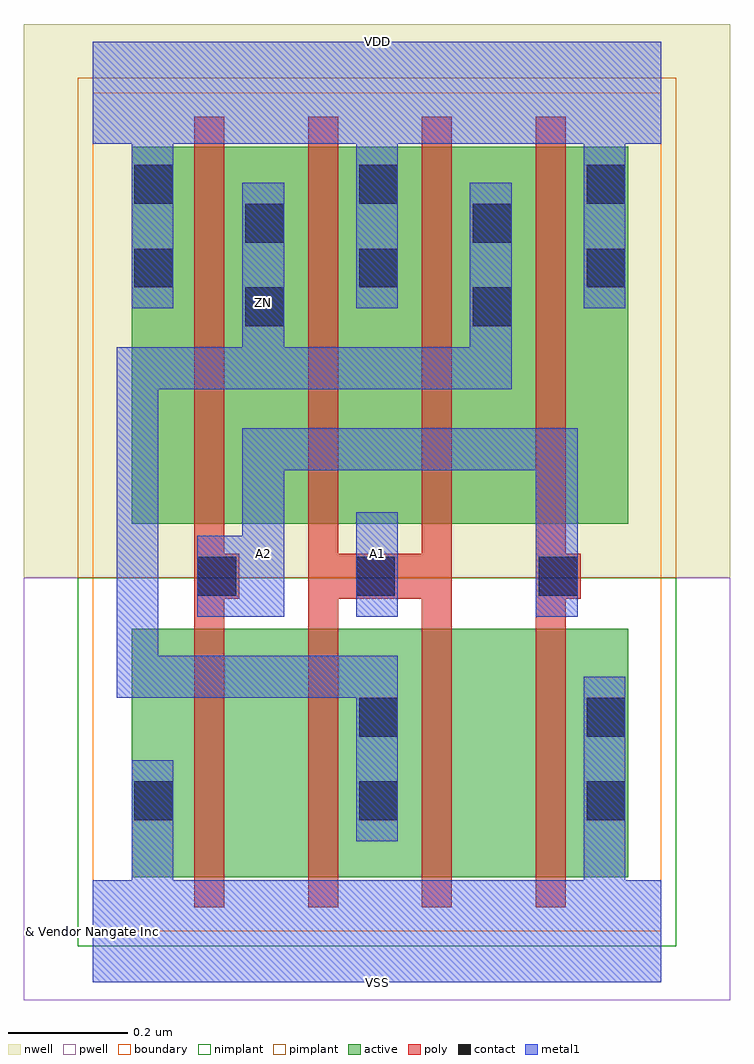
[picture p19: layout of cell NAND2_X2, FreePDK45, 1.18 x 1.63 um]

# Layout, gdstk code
import gdstk
lib = gdstk.Library(unit=1e-6, precision=1e-10)
def R(c, l, rs):  # rectangles x0, y0, x1, y1
    for r in rs: c.add(gdstk.rectangle(r[:2], r[2:], *l))
def P(c, l, *ps):  # polygons
    for p in ps: c.add(gdstk.Polygon(p, *l))
active = (1, 0)
pwell = (2, 0)
nwell = (3, 0)
nimplant = (4, 0)
pimplant = (5, 0)
poly = (9, 0)
contact = (10, 0)
metal1 = (11, 0)
boundary = (235, 0)

nand2_x2 = lib.new_cell('NAND2_X2')
R(nand2_x2, active, [(0.065,0.09,0.895,0.505), (0.065,0.68,0.895,1.31)])
R(nand2_x2, pwell, [(-0.115,-0.115,1.065,0.59)])
R(nand2_x2, nwell, [(-0.115,0.59,1.065,1.515)])
R(nand2_x2, nimplant, [(-0.025,-0.025,0.975,0.59)])
R(nand2_x2, pimplant, [(-0.025,0.59,0.975,1.425)])
P(nand2_x2, poly, [(0.17,0.04),(0.17,1.36),(0.22,1.36),(0.22,0.63),(0.245,0.63),(0.245,0.555),(0.22,0.555),(0.22,0.04)],
  [(0.36,0.04),(0.36,1.36),(0.41,1.36),(0.41,0.63),(0.55,0.63),(0.55,1.36),(0.6,1.36),(0.6,0.04),(0.55,0.04),(0.55,0.555),(0.41,0.555),(0.41,0.04)],
  [(0.74,0.04),(0.74,1.36),(0.79,1.36),(0.79,0.63),(0.815,0.63),(0.815,0.555),(0.79,0.555),(0.79,0.04)])
R(nand2_x2, contact, [(0.07,0.185,0.135,0.25), (0.445,0.185,0.51,0.25), (0.825,0.185,0.89,0.25), (0.445,0.325,0.51,0.39), (0.825,0.325,0.89,0.39), (0.175,0.56,0.24,0.625), (0.44,0.56,0.505,0.625), (0.745,0.56,0.81,0.625), (0.255,1.01,0.32,1.075), (0.635,1.01,0.7,1.075), (0.07,1.075,0.135,1.14), (0.445,1.075,0.51,1.14), (0.825,1.075,0.89,1.14), (0.255,1.15,0.32,1.215), (0.635,1.15,0.7,1.215), (0.07,1.215,0.135,1.28), (0.445,1.215,0.51,1.28), (0.825,1.215,0.89,1.28)])
R(nand2_x2, metal1, [(0.44,0.525,0.51,0.7)])
P(nand2_x2, metal1, [(0.44,0.15),(0.44,0.39),(0.04,0.39),(0.04,0.975),(0.25,0.975),(0.25,1.25),(0.32,1.25),(0.32,0.975),(0.63,0.975),(0.63,1.25),(0.7,1.25),(0.7,0.905),(0.11,0.905),(0.11,0.46),(0.51,0.46),(0.51,0.15)],
  [(0.175,0.525),(0.175,0.66),(0.25,0.66),(0.25,0.84),(0.81,0.84),(0.81,0.525),(0.74,0.525),(0.74,0.77),(0.32,0.77),(0.32,0.525)],
  [(0,-0.085),(0,0.085),(0.065,0.085),(0.065,0.285),(0.135,0.285),(0.135,0.085),(0.82,0.085),(0.82,0.425),(0.89,0.425),(0.89,0.085),(0.95,0.085),(0.95,-0.085)],
  [(0.065,1.04),(0.065,1.315),(0,1.315),(0,1.485),(0.95,1.485),(0.95,1.315),(0.89,1.315),(0.89,1.04),(0.82,1.04),(0.82,1.315),(0.51,1.315),(0.51,1.04),(0.44,1.04),(0.44,1.315),(0.135,1.315),(0.135,1.04)])
R(nand2_x2, boundary, [(0,0,0.95,1.4)])
nand2_x2.add(gdstk.Label('A1', (0.475,0.63), layer=11, texttype=0))
nand2_x2.add(gdstk.Label('A2', (0.285,0.63), layer=11, texttype=0))
nand2_x2.add(gdstk.Label('VDD', (0.475,1.485), layer=11, texttype=0))
nand2_x2.add(gdstk.Label('VSS', (0.475,-0.085), layer=11, texttype=0))
nand2_x2.add(gdstk.Label('ZN', (0.285,1.05), layer=11, texttype=0))
nand2_x2.add(gdstk.Label('& Vendor Nangate Inc', (0,0), layer=63, texttype=63))
nand2_x2.add(gdstk.Label('& Product Open Cell Library', (0,0), layer=63, texttype=63))
nand2_x2.add(gdstk.Label('& Version 2010_12', (0,0), layer=63, texttype=63))
nand2_x2.add(gdstk.Label('& Instance NAND2_X2', (0,0), layer=63, texttype=63))

lib.write_gds('NAND2_X2.gds')
